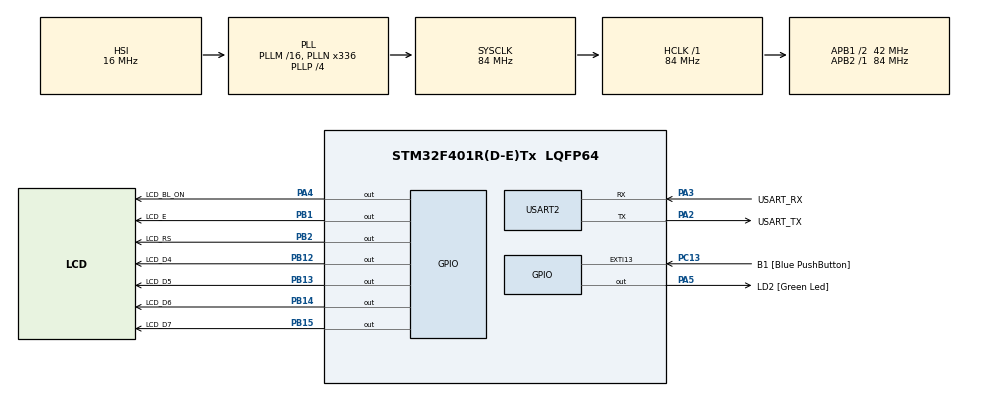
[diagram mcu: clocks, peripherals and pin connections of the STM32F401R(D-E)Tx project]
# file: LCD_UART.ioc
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Dma.Request0=USART2_RX
Dma.USART2_RX.0.Direction=DMA_PERIPH_TO_MEMORY
Dma.USART2_RX.0.FIFOMode=DMA_FIFOMODE_DISABLE
Dma.USART2_RX.0.Instance=DMA1_Stream5
Dma.USART2_RX.0.MemDataAlignment=DMA_MDATAALIGN_BYTE
Dma.USART2_RX.0.MemInc=DMA_MINC_ENABLE
Dma.USART2_RX.0.Mode=DMA_CIRCULAR
Dma.USART2_RX.0.PeriphDataAlignment=DMA_PDATAALIGN_BYTE
Dma.USART2_RX.0.PeriphInc=DMA_PINC_DISABLE
Dma.USART2_RX.0.Priority=DMA_PRIORITY_HIGH
Mcu.Family=STM32F4
Mcu.Name=STM32F401R(D-E)Tx
Mcu.Package=LQFP64
NVIC.DMA1_Stream5_IRQn=true\:0\:0\:false\:false\:true\:false\:true\:true
NVIC.PriorityGroup=NVIC_PRIORITYGROUP_4
NVIC.USART2_IRQn=true\:0\:0\:false\:false\:true\:true\:true\:true
PA13.GPIO_Label=TMS
PA13.Mode=Trace_Asynchronous_SW
PA13.Signal=SYS_JTMS-SWDIO
PA14.GPIO_Label=TCK
PA14.Mode=Trace_Asynchronous_SW
PA14.Signal=SYS_JTCK-SWCLK
PA2.GPIO_Label=USART_TX
PA2.GPIO_Mode=GPIO_MODE_AF_PP
PA2.GPIO_PuPd=GPIO_NOPULL
PA2.GPIO_Speed=GPIO_SPEED_FREQ_LOW
PA2.Mode=Asynchronous
PA2.Signal=USART2_TX
PA3.GPIO_Label=USART_RX
PA3.GPIO_Mode=GPIO_MODE_AF_PP
PA3.GPIO_PuPd=GPIO_NOPULL
PA3.GPIO_Speed=GPIO_SPEED_FREQ_LOW
PA3.Mode=Asynchronous
PA3.Signal=USART2_RX
PA4.GPIO_Label=LCD_BL_ON
PA4.Signal=GPIO_Output
PA5.GPIO_Label=LD2 [Green Led]
PA5.GPIO_Mode=GPIO_MODE_OUTPUT_PP
PA5.GPIO_PuPd=GPIO_NOPULL
PA5.GPIO_Speed=GPIO_SPEED_FREQ_LOW
PA5.Signal=GPIO_Output
PB1.GPIO_Label=LCD_E
PB1.Signal=GPIO_Output
PB12.GPIO_Label=LCD_D4
PB12.Signal=GPIO_Output
PB13.GPIO_Label=LCD_D5
PB13.Signal=GPIO_Output
PB14.GPIO_Label=LCD_D6
PB14.Signal=GPIO_Output
PB15.GPIO_Label=LCD_D7
PB15.Signal=GPIO_Output
PB2.GPIO_Label=LCD_RS
PB2.Signal=GPIO_Output
PB3.GPIO_Label=SWO
PB3.Mode=Trace_Asynchronous_SW
PB3.Signal=SYS_JTDO-SWO
PC13-ANTI_TAMP.GPIO_Label=B1 [Blue PushButton]
PC13-ANTI_TAMP.GPIO_ModeDefaultEXTI=GPIO_MODE_IT_FALLING
PC13-ANTI_TAMP.GPIO_PuPd=GPIO_NOPULL
PC13-ANTI_TAMP.Signal=GPXTI13
PC14-OSC32_IN.Mode=LSE-External-Oscillator
PC14-OSC32_IN.Signal=RCC_OSC32_IN
PC15-OSC32_OUT.Mode=LSE-External-Oscillator
PC15-OSC32_OUT.Signal=RCC_OSC32_OUT
PH0\ -\ OSC_IN.Mode=HSE-External-Clock-Source
PH0\ -\ OSC_IN.Signal=RCC_OSC_IN
PH1\ -\ OSC_OUT.Mode=HSE-External-Clock-Source
PH1\ -\ OSC_OUT.Signal=RCC_OSC_OUT
ProjectManager.HeapSize=0x200
ProjectManager.StackSize=0x400
ProjectManager.TargetToolchain=STM32CubeIDE
RCC.48MHZClocksFreq_Value=48000000
RCC.AHBFreq_Value=84000000
RCC.APB1CLKDivider=RCC_HCLK_DIV2
RCC.APB1Freq_Value=42000000
RCC.APB1TimFreq_Value=84000000
RCC.APB2Freq_Value=84000000
RCC.APB2TimFreq_Value=84000000
RCC.CortexFreq_Value=84000000
RCC.HCLKFreq_Value=84000000
RCC.HSE_VALUE=8000000
RCC.HSI_VALUE=16000000
RCC.PLLN=336
RCC.PLLP=RCC_PLLP_DIV4
RCC.PLLQ=7
RCC.SYSCLKFreq_VALUE=84000000
RCC.SYSCLKSource=RCC_SYSCLKSOURCE_PLLCLK
RCC.VCOOutputFreq_Value=336000000
USART2.VirtualMode=VM_ASYNC
board=NUCLEO-F401RE

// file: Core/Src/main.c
/* USER CODE BEGIN Header */
/**
  ******************************************************************************
  * @file           : main.c
  * @brief          : Main program body
  ******************************************************************************
  * @attention
  *
  * Copyright (c) 2026 STMicroelectronics.
  * All rights reserved.
  *
  * This software is licensed under terms that can be found in the LICENSE file
  * in the root directory of this software component.
  * If no LICENSE file comes with this software, it is provided AS-IS.
  *
  ******************************************************************************
  */
/* USER CODE END Header */
#include "main.h"

/* USER CODE BEGIN Includes */
#include "PMDB16_LCD.h"
#include "string.h"
/* USER CODE END Includes */

/* USER CODE BEGIN PD */
// LCD
#define LCD_SIZE 16
#define MAX_LEN  (2*LCD_SIZE)   // 32 caratteri: due righe
/* USER CODE END PD */

UART_HandleTypeDef huart2;
DMA_HandleTypeDef hdma_usart2_rx;

/* USER CODE BEGIN PV */

// UART
int received=0;
char received_char;

uint8_t rx_buf;
char rx_line[MAX_LEN+1];
volatile uint8_t rx_idx = 0;
volatile uint8_t line_ready = 0;

// LCD
char lcd_buffer_top[LCD_SIZE+1];
char lcd_buffer_bottom[LCD_SIZE+1];

int i=0;
int j=0;
int clear=0;
/* USER CODE END PV */

void SystemClock_Config(void);
static void MX_GPIO_Init(void);
static void MX_DMA_Init(void);
static void MX_USART2_UART_Init(void);

/* USER CODE BEGIN 0 */
void HAL_UART_RxCpltCallback(UART_HandleTypeDef *huart)
{
    if (huart->Instance == USART2)
    {
    	received_char=(char)rx_buf;

    	if(received_char=='\r'){ // Invio -> spazio
    		received_char=' ';
    	}

    	if(received_char!='\n'){ // '\n' lo ignoro, altrimenti "\r\n" darebbe due spazi

    		if(clear){ // Le due righe erano piene: ricomincio
    			clear=0;
    			memset(lcd_buffer_top, ' ', LCD_SIZE);
    			memset(lcd_buffer_bottom, ' ', LCD_SIZE);
    		}

    		// Scriviamo nel buffer
    		if(j==0){
    			lcd_buffer_top[i]=received_char;
    		}else{
    			lcd_buffer_bottom[i]=received_char;
    		}

    		// Spostiamo il cursore
    		i++;
    		if(i==LCD_SIZE){
    			i=0;
    			j=(j+1)%2;

    			if(j==0){
    				clear=1;
    			}
    		}

    		received=1;
    	}
    }
}

/* USER CODE END 0 */

int main(void)
{

  /* MCU Configuration--------------------------------------------------------*/

  /* Reset of all peripherals, Initializes the Flash interface and the Systick. */
  HAL_Init();

  /* Configure the system clock */
  SystemClock_Config();

  /* Initialize all configured peripherals */
  MX_GPIO_Init();
  MX_DMA_Init();
  MX_USART2_UART_Init();
  /* USER CODE BEGIN 2 */
  lcd_initialize();

  lcd_backlight_ON();

  HAL_UART_Receive_DMA(&huart2, &rx_buf, 1);

  /* USER CODE END 2 */

  /* Infinite loop */
  while (1)
  {

    /* USER CODE BEGIN 3 */

	      if (received)
	      {
	    	  received=0;
	    	  lcd_println(lcd_buffer_top, 0);
	    	  lcd_println(lcd_buffer_bottom, 1);
	      }

  }
  /* USER CODE END 3 */
}

void SystemClock_Config(void)
{
  RCC_OscInitTypeDef RCC_OscInitStruct = {0};
  RCC_ClkInitTypeDef RCC_ClkInitStruct = {0};

  /** Configure the main internal regulator output voltage
  */
  __HAL_RCC_PWR_CLK_ENABLE();
  __HAL_PWR_VOLTAGESCALING_CONFIG(PWR_REGULATOR_VOLTAGE_SCALE2);

  /** Initializes the RCC Oscillators according to the specified parameters
  * in the RCC_OscInitTypeDef structure.
  */
  RCC_OscInitStruct.OscillatorType = RCC_OSCILLATORTYPE_HSI;
  RCC_OscInitStruct.HSIState = RCC_HSI_ON;
  RCC_OscInitStruct.HSICalibrationValue = RCC_HSICALIBRATION_DEFAULT;
  RCC_OscInitStruct.PLL.PLLState = RCC_PLL_ON;
  RCC_OscInitStruct.PLL.PLLSource = RCC_PLLSOURCE_HSI;
  RCC_OscInitStruct.PLL.PLLM = 16;
  RCC_OscInitStruct.PLL.PLLN = 336;
  RCC_OscInitStruct.PLL.PLLP = RCC_PLLP_DIV4;
  RCC_OscInitStruct.PLL.PLLQ = 7;
  if (HAL_RCC_OscConfig(&RCC_OscInitStruct) != HAL_OK)
  {
    Error_Handler();
  }

  /** Initializes the CPU, AHB and APB buses clocks
  */
  RCC_ClkInitStruct.ClockType = RCC_CLOCKTYPE_HCLK|RCC_CLOCKTYPE_SYSCLK
                              |RCC_CLOCKTYPE_PCLK1|RCC_CLOCKTYPE_PCLK2;
  RCC_ClkInitStruct.SYSCLKSource = RCC_SYSCLKSOURCE_PLLCLK;
  RCC_ClkInitStruct.AHBCLKDivider = RCC_SYSCLK_DIV1;
  RCC_ClkInitStruct.APB1CLKDivider = RCC_HCLK_DIV2;
  RCC_ClkInitStruct.APB2CLKDivider = RCC_HCLK_DIV1;

  if (HAL_RCC_ClockConfig(&RCC_ClkInitStruct, FLASH_LATENCY_2) != HAL_OK)
  {
    Error_Handler();
  }
}

static void MX_USART2_UART_Init(void)
{

  huart2.Instance = USART2;
  huart2.Init.BaudRate = 115200;
  huart2.Init.WordLength = UART_WORDLENGTH_8B;
  huart2.Init.StopBits = UART_STOPBITS_1;
  huart2.Init.Parity = UART_PARITY_NONE;
  huart2.Init.Mode = UART_MODE_TX_RX;
  huart2.Init.HwFlowCtl = UART_HWCONTROL_NONE;
  huart2.Init.OverSampling = UART_OVERSAMPLING_16;
  if (HAL_UART_Init(&huart2) != HAL_OK)
  {
    Error_Handler();
  }

}

static void MX_DMA_Init(void)
{

  /* DMA controller clock enable */
  __HAL_RCC_DMA1_CLK_ENABLE();

  /* DMA interrupt init */
  /* DMA1_Stream5_IRQn interrupt configuration */
  HAL_NVIC_SetPriority(DMA1_Stream5_IRQn, 0, 0);
  HAL_NVIC_EnableIRQ(DMA1_Stream5_IRQn);

}

static void MX_GPIO_Init(void)
{
  GPIO_InitTypeDef GPIO_InitStruct = {0};

  /* GPIO Ports Clock Enable */
  __HAL_RCC_GPIOC_CLK_ENABLE();
  __HAL_RCC_GPIOH_CLK_ENABLE();
  __HAL_RCC_GPIOA_CLK_ENABLE();
  __HAL_RCC_GPIOB_CLK_ENABLE();

  /*Configure GPIO pin Output Level */
  HAL_GPIO_WritePin(GPIOA, LCD_BL_ON_Pin|LD2_Pin, GPIO_PIN_RESET);

  /*Configure GPIO pin Output Level */
  HAL_GPIO_WritePin(GPIOB, LCD_E_Pin|LCD_RS_Pin|LCD_D4_Pin|LCD_D5_Pin
                          |LCD_D6_Pin|LCD_D7_Pin, GPIO_PIN_RESET);

  /*Configure GPIO pin : B1_Pin */
  GPIO_InitStruct.Pin = B1_Pin;
  GPIO_InitStruct.Mode = GPIO_MODE_IT_FALLING;
  GPIO_InitStruct.Pull = GPIO_NOPULL;
  HAL_GPIO_Init(B1_GPIO_Port, &GPIO_InitStruct);

  /*Configure GPIO pins : LCD_BL_ON_Pin LD2_Pin */
  GPIO_InitStruct.Pin = LCD_BL_ON_Pin|LD2_Pin;
  GPIO_InitStruct.Mode = GPIO_MODE_OUTPUT_PP;
  GPIO_InitStruct.Pull = GPIO_NOPULL;
  GPIO_InitStruct.Speed = GPIO_SPEED_FREQ_LOW;
  HAL_GPIO_Init(GPIOA, &GPIO_InitStruct);

  /*Configure GPIO pins : LCD_E_Pin LCD_RS_Pin LCD_D4_Pin LCD_D5_Pin
                           LCD_D6_Pin LCD_D7_Pin */
  GPIO_InitStruct.Pin = LCD_E_Pin|LCD_RS_Pin|LCD_D4_Pin|LCD_D5_Pin
                          |LCD_D6_Pin|LCD_D7_Pin;
  GPIO_InitStruct.Mode = GPIO_MODE_OUTPUT_PP;
  GPIO_InitStruct.Pull = GPIO_NOPULL;
  GPIO_InitStruct.Speed = GPIO_SPEED_FREQ_LOW;
  HAL_GPIO_Init(GPIOB, &GPIO_InitStruct);

}

void Error_Handler(void)
{
  __disable_irq();
  while (1)
  {
  }
}
